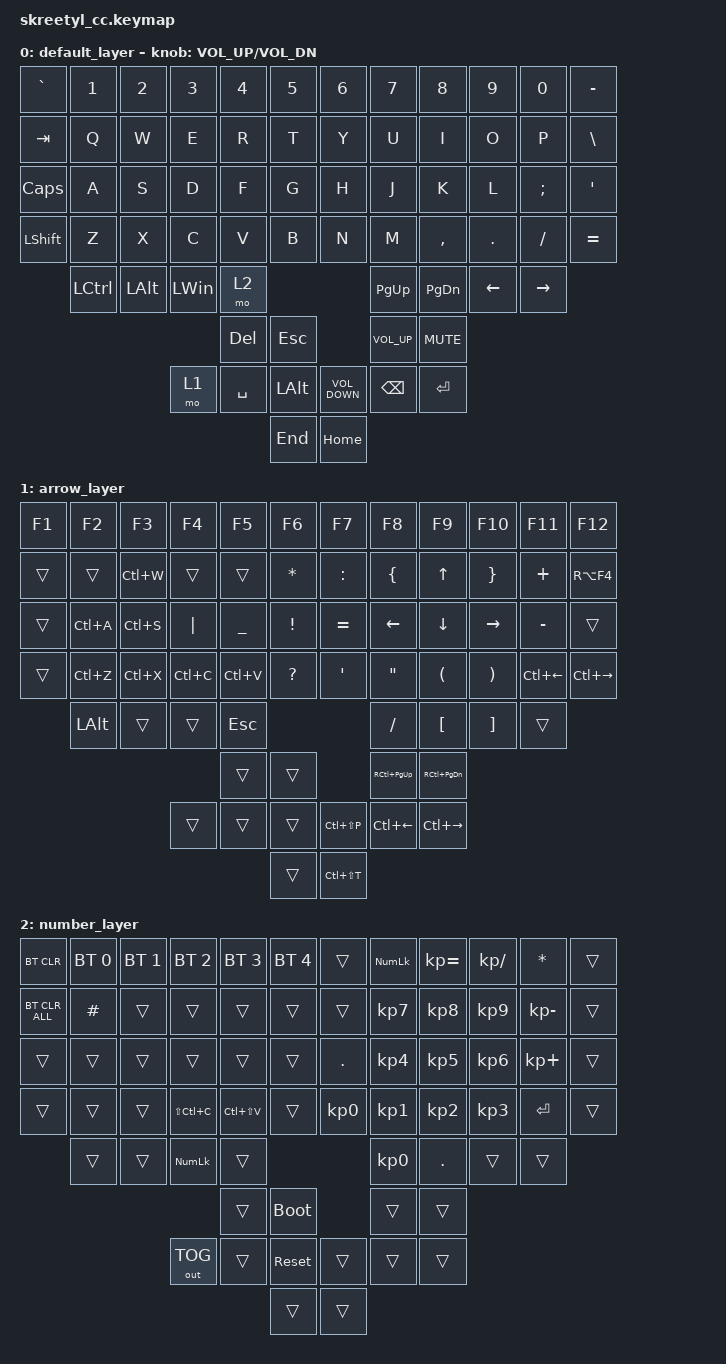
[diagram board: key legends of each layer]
/*
 * Copyright (c) 2020 The ZMK Contributors
 *
 * SPDX-License-Identifier: MIT
 */

#include <behaviors.dtsi>
#include <dt-bindings/zmk/bt.h>
#include <dt-bindings/zmk/keys.h>
#include <dt-bindings/zmk/outputs.h>

/ {
    keymap {
        compatible = "zmk,keymap";

        default_layer {
            bindings = <
&kp GRAVE     &kp N1            &kp N2        &kp N3        &kp N4      &kp N5          &kp N6             &kp N7           &kp N8         &kp N9          &kp N0           &kp MINUS
&kp TAB       &kp Q             &kp W         &kp E         &kp R       &kp T           &kp Y              &kp U            &kp I          &kp O           &kp P            &kp BSLH
&kp CAPSLOCK  &kp A             &kp S         &kp D         &kp F       &kp G           &kp H              &kp J            &kp K          &kp L           &kp SEMI         &kp SQT
&kp LSHFT     &kp Z             &kp X         &kp C         &kp V       &kp B           &kp N              &kp M            &kp COMMA      &kp DOT         &kp FSLH         &kp EQUAL
              &kp LEFT_CONTROL  &kp LEFT_ALT  &kp LEFT_WIN  &mo 2                                          &kp PG_UP        &kp PAGE_DOWN  &kp LEFT_ARROW  &kp RIGHT_ARROW
                                                            &kp DELETE  &kp ESCAPE                         &kp C_VOLUME_UP  &kp C_MUTE
                                              &mo 1         &kp SPACE   &kp LEFT_ALT    &kp C_VOLUME_DOWN  &kp BACKSPACE    &kp ENTER
                                                                        &kp END         &kp HOME
            >;

            sensor-bindings = <&inc_dec_kp C_VOL_UP C_VOL_DN>;
        };

        arrow_layer {
            bindings = <
&kp F1  &kp F2        &kp F3     &kp F4     &kp F5          &kp F6             &kp F7            &kp F8              &kp F9                &kp F10                &kp F11             &kp F12
&trans  &trans        &kp LC(W)  &trans     &trans          &kp ASTERISK       &kp COLON         &kp LEFT_BRACE      &kp UP                &kp RIGHT_BRACE        &kp PLUS            &kp RA(F4)
&trans  &kp LC(A)     &kp LC(S)  &kp PIPE   &kp UNDERSCORE  &kp EXCLAMATION    &kp EQUAL         &kp LEFT_ARROW      &kp DOWN              &kp RIGHT              &kp MINUS           &trans
&trans  &kp LC(Z)     &kp LC(X)  &kp LC(C)  &kp LC(V)       &kp QUESTION       &kp SINGLE_QUOTE  &kp DOUBLE_QUOTES   &kp LEFT_PARENTHESIS  &kp RIGHT_PARENTHESIS  &kp LC(LEFT_ARROW)  &kp LC(RIGHT_ARROW)
        &kp LEFT_ALT  &trans     &trans     &kp ESC                                              &kp SLASH           &kp LEFT_BRACKET      &kp RIGHT_BRACKET      &trans
                                            &trans          &trans                               &kp RC(PAGE_UP)     &kp RC(PAGE_DOWN)
                                 &trans     &trans          &trans             &kp LC(LS(P))     &kp LC(LEFT_ARROW)  &kp LC(RIGHT_ARROW)
                                                            &trans             &kp LC(LS(T))
            >;
        };

        number_layer {
            bindings = <
&bt BT_CLR      &bt BT_SEL 0  &bt BT_SEL 1  &bt BT_SEL 2   &bt BT_SEL 3   &bt BT_SEL 4    &trans           &kp KP_NUMLOCK   &kp KP_EQUAL     &kp KP_DIVIDE    &kp ASTERISK  &trans
&bt BT_CLR_ALL  &kp POUND     &trans        &trans         &trans         &trans          &trans           &kp KP_NUMBER_7  &kp KP_NUMBER_8  &kp KP_NUMBER_9  &kp KP_MINUS  &trans
&trans          &trans        &trans        &trans         &trans         &trans          &kp PERIOD       &kp KP_NUMBER_4  &kp KP_NUMBER_5  &kp KP_NUMBER_6  &kp KP_PLUS   &trans
&trans          &trans        &trans        &kp LS(LC(C))  &kp LC(LS(V))  &trans          &kp KP_NUMBER_0  &kp KP_NUMBER_1  &kp KP_NUMBER_2  &kp KP_NUMBER_3  &kp RET       &trans
                &trans        &trans        &kp KP_NUM     &trans                                          &kp KP_NUMBER_0  &kp PERIOD       &trans           &trans
                                                           &trans         &bootloader                      &trans           &trans
                                            &out OUT_TOG   &trans         &sys_reset      &trans           &trans           &trans
                                                                          &trans          &trans
            >;
        };
    };
};
